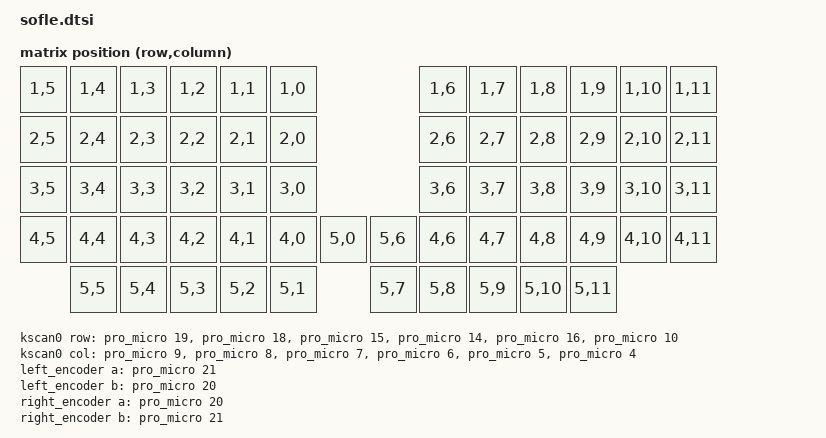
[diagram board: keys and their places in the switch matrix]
#include <dt-bindings/zmk/matrix_transform.h>
#include "sofle-layouts.dtsi"
#include <dt-bindings/led/led.h>

/ {
    chosen {
        zephyr,display = &oled;
        zmk,kscan = &kscan0;
        zmk,matrix-transform = &default_transform;
    };

    default_transform: keymap_transform_0 {
        compatible = "zmk,matrix-transform";
        columns = <12>;
        rows = <6>;
        // ┌─────────────────────────────────────────────────────────────────────────────────┐
        // │ Transform mapeado empíricamente para PCB PandaKB (col2row, transpuesto).        │
        // │ 6 col-gpios por lado (pins 9,8,7,6,5,4). Kscan row 0 no se usa.               │
        // │ Izquierda: cols 5→0 (confirmado). Derecha: cols 6→11 (PCB volteado, ascendente). │
        // │ Right overlay debe tener col-offset=6 para que el peripheral reporte cols 6-11.│
        // └─────────────────────────────────────────────────────────────────────────────────┘
        map = <
RC(1,5) RC(1,4) RC(1,3) RC(1,2) RC(1,1) RC(1,0)                    RC(1,6)  RC(1,7)  RC(1,8)  RC(1,9)  RC(1,10) RC(1,11)
RC(2,5) RC(2,4) RC(2,3) RC(2,2) RC(2,1) RC(2,0)                    RC(2,6)  RC(2,7)  RC(2,8)  RC(2,9)  RC(2,10) RC(2,11)
RC(3,5) RC(3,4) RC(3,3) RC(3,2) RC(3,1) RC(3,0)                    RC(3,6)  RC(3,7)  RC(3,8)  RC(3,9)  RC(3,10) RC(3,11)
RC(4,5) RC(4,4) RC(4,3) RC(4,2) RC(4,1) RC(4,0) RC(5,0)   RC(5,6)  RC(4,6)  RC(4,7)  RC(4,8)  RC(4,9)  RC(4,10) RC(4,11)
        RC(5,5) RC(5,4) RC(5,3) RC(5,2) RC(5,1)            RC(5,7)  RC(5,8)  RC(5,9)  RC(5,10) RC(5,11)
        >;
    };

    kscan0: kscan {
        compatible = "zmk,kscan-gpio-matrix";
        wakeup-source;
        diode-direction = "col2row";

        row-gpios
            = <&pro_micro 19 (GPIO_ACTIVE_HIGH | GPIO_PULL_DOWN)>
            , <&pro_micro 18 (GPIO_ACTIVE_HIGH | GPIO_PULL_DOWN)>
            , <&pro_micro 15 (GPIO_ACTIVE_HIGH | GPIO_PULL_DOWN)>
            , <&pro_micro 14 (GPIO_ACTIVE_HIGH | GPIO_PULL_DOWN)>
            , <&pro_micro 16 (GPIO_ACTIVE_HIGH | GPIO_PULL_DOWN)>
            , <&pro_micro 10 (GPIO_ACTIVE_HIGH | GPIO_PULL_DOWN)>
            ;

        col-gpios
            = <&pro_micro 9 GPIO_ACTIVE_HIGH>
            , <&pro_micro 8 GPIO_ACTIVE_HIGH>
            , <&pro_micro 7 GPIO_ACTIVE_HIGH>
            , <&pro_micro 6 GPIO_ACTIVE_HIGH>
            , <&pro_micro 5 GPIO_ACTIVE_HIGH>
            , <&pro_micro 4 GPIO_ACTIVE_HIGH>
            ;
    };

    // Encoder rotation pins unknown on PandaKB PCB — disabled.
    // Button press works via matrix at RC(5,0).
    left_encoder: encoder_left {
        compatible = "alps,ec11";
        a-gpios = <&pro_micro 21 (GPIO_ACTIVE_HIGH | GPIO_PULL_UP)>;
        b-gpios = <&pro_micro 20 (GPIO_ACTIVE_HIGH | GPIO_PULL_UP)>;
        steps = <80>;
        status = "disabled";
    };

    right_encoder: encoder_right {
        compatible = "alps,ec11";
        a-gpios = <&pro_micro 20 (GPIO_ACTIVE_HIGH | GPIO_PULL_UP)>;
        b-gpios = <&pro_micro 21 (GPIO_ACTIVE_HIGH | GPIO_PULL_UP)>;
        steps = <80>;
        status = "disabled";
    };

    sensors: sensors {
        compatible = "zmk,keymap-sensors";
        sensors = <&left_encoder &right_encoder>;
        triggers-per-rotation = <20>;
    };
};

&pinctrl {
    i2c0_default: i2c0_default {
        group1 {
            psels = <NRF_PSEL(TWIM_SDA, 0, 17)>,
                    <NRF_PSEL(TWIM_SCL, 0, 20)>;
        };
    };
    i2c0_sleep: i2c0_sleep {
        group1 {
            psels = <NRF_PSEL(TWIM_SDA, 0, 17)>,
                    <NRF_PSEL(TWIM_SCL, 0, 20)>;
            low-power-enable;
        };
    };
};

&pro_micro_i2c {
    status = "disabled"; // OLED no soldado
    oled: ssd1306@3c {
        compatible = "solomon,ssd1306fb";
        reg = <0x3c>;
        width = <128>;
        height = <32>;
        segment-offset = <0>;
        page-offset = <0>;
        display-offset = <0>;
        multiplex-ratio = <31>;
        segment-remap;
        com-invdir;
        com-sequential;
        inversion-on;
        prechargep = <0x22>;
    };
};

&pinctrl {
    spi3_default: spi3_default {
        group1 {
            psels = <NRF_PSEL(SPIM_MOSI, 0, 6)>;
        };
    };
    spi3_sleep: spi3_sleep {
        group1 {
            psels = <NRF_PSEL(SPIM_MOSI, 0, 6)>;
            low-power-enable;
        };
    };
};

&spi3 {
    compatible = "nordic,nrf-spim";
    status = "okay";
    pinctrl-0 = <&spi3_default>;
    pinctrl-1 = <&spi3_sleep>;
    pinctrl-names = "default", "sleep";

    led_strip: ws2812@0 {
        compatible = "worldsemi,ws2812-spi";
        label = "WS2812";
        reg = <0>;
        spi-max-frequency = <4000000>;
        chain-length = <36>;
        spi-one-frame = <0x70>;
        spi-zero-frame = <0x40>;
        color-mapping = <LED_COLOR_ID_GREEN LED_COLOR_ID_RED LED_COLOR_ID_BLUE>;
    };
};

/ {
    chosen {
        zmk,underglow = &led_strip;
    };
};
